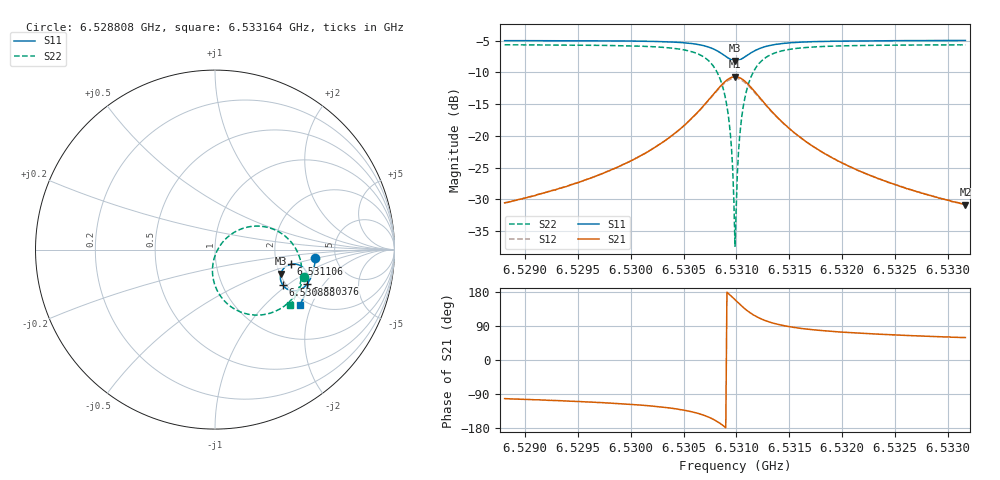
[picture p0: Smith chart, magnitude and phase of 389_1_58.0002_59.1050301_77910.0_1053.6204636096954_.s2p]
#  HZ  S  RI  R  50.00
! Rohde & Schwarz Vector Network Analyzer
! Rohde-Schwarz,ZNB20-2Port,1311601062101988,3.16
! Created: UTC 3/21/2024, 1:07:45 AM
! freq[Hz]  re:S11  im:S11  re:S21  im:S21  re:S12  im:S12  re:S22  im:S22
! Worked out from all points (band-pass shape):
!   401 points, 6.528808 GHz to 6.533164 GHz, reference 50 ohm
!   highest |S21| = -10.69 dB at 6.530986 GHz (marker M1); lowest = -30.8 dB at 6.533164 GHz (marker M2)
!   |S21| within 3 dB of the highest: 6.530771 GHz to 6.531205 GHz (434.9 kHz wide, 0.00666 % of centre)
!   lowest |S11| = -8.2 dB at 6.530986 GHz (marker M3), VSWR 2.28, Z = 101 - j31.9 ohm
!   |S11| at or under -10 dB: nowhere
!   |S22| runs from -37.4 to -5.7 dB; largest |S21 - S12| = 0.011
!   S11 on the Smith chart (normalised r, x): 6.528808 GHz: 3.48, -0.49; 6.530376 GHz: 2.56, -1.40; 6.530888 GHz: 1.92, -0.94; 6.531106 GHz: 2.41, -0.48; 6.533164 GHz: 1.82, -1.65
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6.5288081e9  0.5592 -0.0477  -0.00613 -0.0291  -0.00675 -0.0289  0.4986 -0.1507
6.5295378e9  0.5499 -0.1077  -0.015 -0.0413  -0.0159 -0.0411  0.4694 -0.2173
6.5302675e9  0.5228 -0.1784  -0.0468 -0.0712  -0.0486 -0.0699  0.3924 -0.3098
6.5303764e9  0.5139 -0.1911  -0.0592 -0.0787  -0.0613 -0.0772  0.3662 -0.3279
6.5307249e9  0.4478 -0.2296  -0.1606 -0.0953  -0.1624 -0.0889  0.1745 -0.3577
6.5308229e9  0.4074 -0.2225  -0.223 -0.0675  -0.2221 -0.0586  0.0687 -0.3019
6.5308882e9  0.379 -0.1992  -0.2651 -0.0178  -0.2601 -0.00854  0.00467 -0.2118
6.5309318e9  0.3663 -0.1731  -0.2809 0.0325  -0.2731 0.0401  -0.0141 -0.1257
6.5309536e9  0.364 -0.1576  -0.2821 0.0611  -0.2731 0.0672  -0.0113 -0.0783
6.5309645e9  0.364 -0.1496  -0.2803 0.0757  -0.2709 0.081  -0.00644 -0.0546
6.5309754e9  0.365 -0.1416  -0.2773 0.0902  -0.2677 0.0946  0.00099 -0.031
6.5309863e9  0.3668 -0.1337  -0.2729 0.1044  -0.2629 0.108  0.0106 -0.00845
6.5309971e9  0.3695 -0.126  -0.2669 0.1182  -0.2569 0.1208  0.0224 0.0132
6.531008e9  0.373 -0.1187  -0.2597 0.1312  -0.2499 0.1329  0.0365 0.0335
6.5310298e9  0.382 -0.1056  -0.2418 0.1544  -0.2325 0.1545  0.0693 0.0688
6.5310516e9  0.3931 -0.095  -0.2205 0.1731  -0.2123 0.172  0.107 0.0964
6.5311061e9  0.4252 -0.0809  -0.1627 0.1988  -0.157 0.196  0.2072 0.1297
6.5311823e9  0.4643 -0.0844  -0.0938 0.1969  -0.0909 0.1942  0.3231 0.1146
6.5312912e9  0.4976 -0.107  -0.0357 0.1666  -0.0344 0.1651  0.4178 0.0496
6.5317159e9  0.5193 -0.1834  0.0144 0.0822  0.0153 0.082  0.4833 -0.1289
6.5324456e9  0.4994 -0.2555  0.0168 0.0394  0.0176 0.0392  0.4555 -0.245
6.5331644e9  0.4714 -0.3084  0.0147 0.0247  0.0152 0.0244  0.4205 -0.3067
